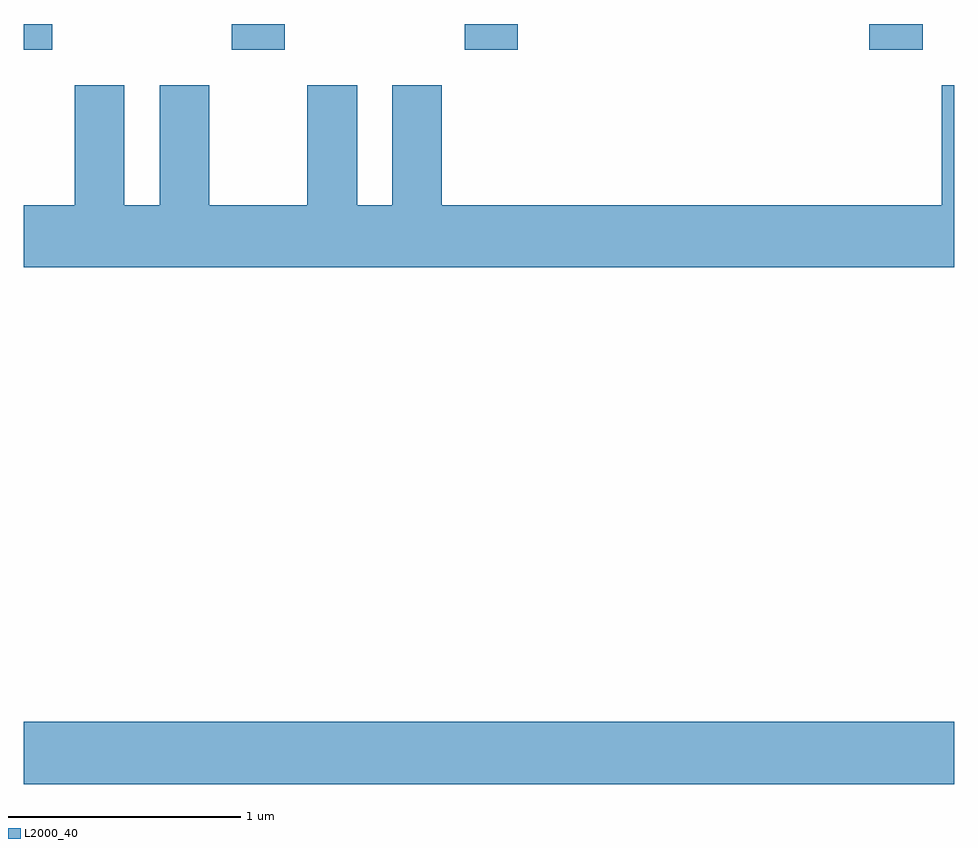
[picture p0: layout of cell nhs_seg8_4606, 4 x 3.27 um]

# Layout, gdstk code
import gdstk
lib = gdstk.Library(unit=1e-6, precision=1e-09)
def R(c, l, rs):  # rectangles x0, y0, x1, y1
    for r in rs: c.add(gdstk.rectangle(r[:2], r[2:], *l))
def P(c, l, *ps):  # polygons
    for p in ps: c.add(gdstk.Polygon(p, *l))
L2000_40 = (2000, 40)

nhs_seg8_4606 = lib.new_cell('nhs_seg8_4606')
R(nhs_seg8_4606, L2000_40, [(323.611,1843.076,327.611,1843.344), (323.611,1846.231,323.734,1846.342), (324.506,1846.231,324.734,1846.342), (325.506,1846.231,325.734,1846.342), (327.246,1846.231,327.474,1846.342)])
P(nhs_seg8_4606, L2000_40, [(325.196,1846.079),(325.196,1845.564),(325.044,1845.564),(325.044,1846.079),(324.831,1846.079),(324.831,1845.564),(324.409,1845.564),(324.409,1846.079),(324.196,1846.079),(324.196,1845.564),(324.044,1845.564),(324.044,1846.079),(323.831,1846.079),(323.831,1845.564),(323.611,1845.564),(323.611,1845.296),(327.611,1845.296),(327.611,1846.079),(327.556,1846.079),(327.556,1845.564),(325.409,1845.564),(325.409,1846.079)])

lib.write_gds('nhs_seg8_4606.gds')
